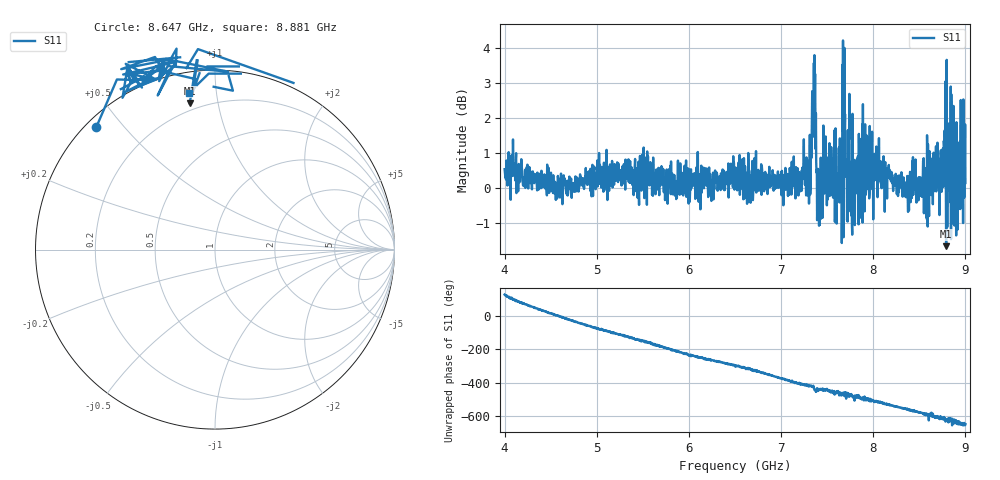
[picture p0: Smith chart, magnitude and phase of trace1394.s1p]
! Created with skrf 1.8.0 (http://scikit-rf.org).
# Hz S RI R 50.0
!freq ReS11 ImS11
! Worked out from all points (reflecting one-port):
!   1601 points, 4 GHz to 9 GHz, reference 50 ohm
!   lowest |S11| = -1.6 dB at 8.791 GHz (marker M1), VSWR 10.58, Z = 8.03 + j41.5 ohm
!   phase of S11 starts at 128 deg and turns -775 deg over the sweep
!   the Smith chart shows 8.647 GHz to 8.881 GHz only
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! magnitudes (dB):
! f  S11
! 4 GHz  0.5
! 4.625 GHz  -0.4
! 5.25 GHz  0.3
! 5.572 GHz  0.1
! 5.875 GHz  0.1
! 6.5 GHz  0.2
! 7.125 GHz  0.3
! 7.294 GHz  -0.2
! 7.353 GHz  2.9
! 7.375 GHz  1.1
! 7.4 GHz  0.6
! 7.416 GHz  -0.6
! 7.478 GHz  0.5
! 7.609 GHz  0.4
! 7.688 GHz  4.0
! 7.703 GHz  0.8
! 7.75 GHz  0.2
! 7.775 GHz  2.1
! 7.962 GHz  1.8
! 8.375 GHz  -0.3
! 8.441 GHz  0.0
! 8.581 GHz  -0.9
! 8.634 GHz  0.1
! 8.725 GHz  0.8
! 8.791 GHz  -1.6
! 8.875 GHz  -0.1
! 8.972 GHz  0.9
! 9 GHz  0.2
